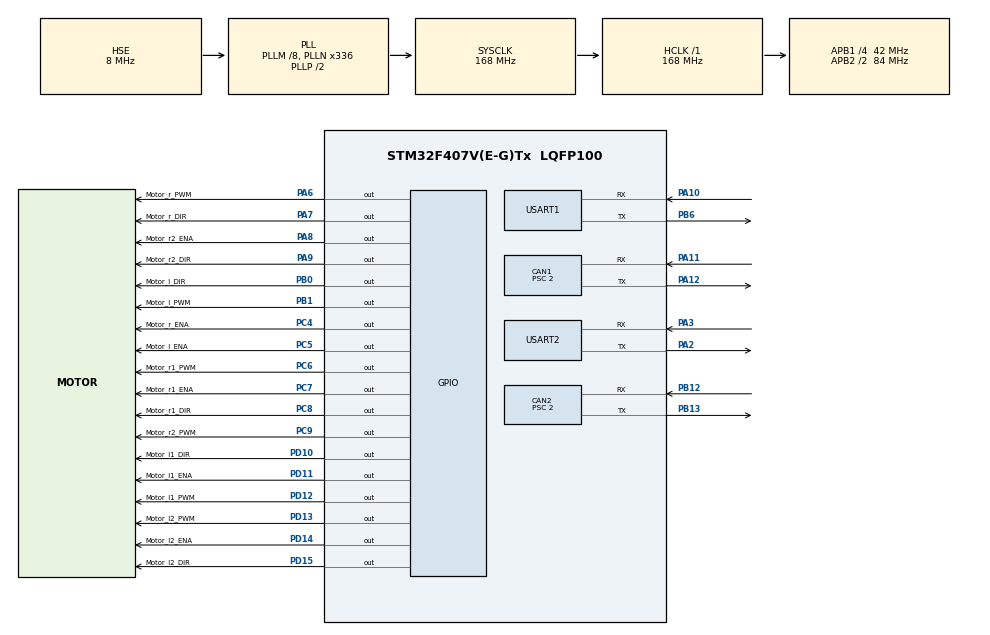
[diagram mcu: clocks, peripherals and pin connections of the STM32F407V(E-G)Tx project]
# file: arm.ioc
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CAN1.BS1=CAN_BS1_12TQ
CAN1.BS2=CAN_BS2_8TQ
CAN1.CalculateBaudRate=1000000
CAN1.CalculateTimeBit=1000
CAN1.CalculateTimeQuantum=47.61904761904762
CAN1.Prescaler=2
CAN2.BS1=CAN_BS1_12TQ
CAN2.BS2=CAN_BS2_8TQ
CAN2.CalculateBaudRate=1000000
CAN2.CalculateTimeBit=1000
CAN2.CalculateTimeQuantum=47.61904761904762
CAN2.Prescaler=2
Mcu.Family=STM32F4
Mcu.Name=STM32F407V(E-G)Tx
Mcu.Package=LQFP100
NVIC.CAN2_RX0_IRQn=true\:0\:0\:false\:false\:true\:true\:true\:true
NVIC.CAN2_RX1_IRQn=true\:0\:0\:false\:false\:true\:true\:true\:true
NVIC.CAN2_TX_IRQn=true\:0\:0\:false\:false\:true\:true\:true\:true
NVIC.PriorityGroup=NVIC_PRIORITYGROUP_4
NVIC.TIM1_UP_TIM10_IRQn=true\:0\:0\:false\:false\:true\:true\:true\:true
NVIC.TIM8_UP_TIM13_IRQn=true\:0\:0\:false\:false\:true\:true\:true\:true
NVIC.USART1_IRQn=true\:0\:0\:false\:false\:true\:true\:true\:true
NVIC.USART2_IRQn=true\:0\:0\:false\:false\:true\:true\:true\:true
PA10.Mode=Asynchronous
PA10.Signal=USART1_RX
PA11.Mode=CAN_Activate
PA11.Signal=CAN1_RX
PA12.Mode=CAN_Activate
PA12.Signal=CAN1_TX
PA13.Mode=Serial_Wire
PA13.Signal=SYS_JTMS-SWDIO
PA14.Mode=Serial_Wire
PA14.Signal=SYS_JTCK-SWCLK
PA2.Mode=Asynchronous
PA2.Signal=USART2_TX
PA3.Mode=Asynchronous
PA3.Signal=USART2_RX
PA6.GPIO_Label=Motor_r_PWM
PA6.Signal=GPIO_Output
PA7.GPIO_Label=Motor_r_DIR
PA7.GPIO_PuPd=GPIO_NOPULL
PA7.Signal=GPIO_Output
PA8.GPIO_Label=Motor_r2_ENA
PA8.Signal=GPIO_Output
PA9.GPIO_Label=Motor_r2_DIR
PA9.Signal=GPIO_Output
PB0.GPIO_Label=Motor_l_DIR
PB0.Signal=GPIO_Output
PB1.GPIO_Label=Motor_l_PWM
PB1.Signal=GPIO_Output
PB12.Mode=CAN_Activate
PB12.Signal=CAN2_RX
PB13.Mode=CAN_Activate
PB13.Signal=CAN2_TX
PB6.Mode=Asynchronous
PB6.Signal=USART1_TX
PC14-OSC32_IN.Mode=LSE-External-Oscillator
PC14-OSC32_IN.Signal=RCC_OSC32_IN
PC15-OSC32_OUT.Mode=LSE-External-Oscillator
PC15-OSC32_OUT.Signal=RCC_OSC32_OUT
PC4.GPIO_Label=Motor_r_ENA
PC4.Signal=GPIO_Output
PC5.GPIO_Label=Motor_l_ENA
PC5.Signal=GPIO_Output
PC6.GPIO_Label=Motor_r1_PWM
PC6.Signal=GPIO_Output
PC7.GPIO_Label=Motor_r1_ENA
PC7.Signal=GPIO_Output
PC8.GPIO_Label=Motor_r1_DIR
PC8.Signal=GPIO_Output
PC9.GPIO_Label=Motor_r2_PWM
PC9.Signal=GPIO_Output
PD10.GPIO_Label=Motor_l1_DIR
PD10.Signal=GPIO_Output
PD11.GPIO_Label=Motor_l1_ENA
PD11.Signal=GPIO_Output
PD12.GPIO_Label=Motor_l1_PWM
PD12.Signal=GPIO_Output
PD13.GPIO_Label=Motor_l2_PWM
PD13.Signal=GPIO_Output
PD14.GPIO_Label=Motor_l2_ENA
PD14.Signal=GPIO_Output
PD15.GPIO_Label=Motor_l2_DIR
PD15.Signal=GPIO_Output
PH0-OSC_IN.Mode=HSE-External-Oscillator
PH0-OSC_IN.Signal=RCC_OSC_IN
PH1-OSC_OUT.Mode=HSE-External-Oscillator
PH1-OSC_OUT.Signal=RCC_OSC_OUT
ProjectManager.HeapSize=0x200
ProjectManager.StackSize=0x400
ProjectManager.TargetToolchain=MDK-ARM V5.32
RCC.48MHZClocksFreq_Value=84000000
RCC.AHBFreq_Value=168000000
RCC.APB1CLKDivider=RCC_HCLK_DIV4
RCC.APB1Freq_Value=42000000
RCC.APB1TimFreq_Value=84000000
RCC.APB2CLKDivider=RCC_HCLK_DIV2
RCC.APB2Freq_Value=84000000
RCC.APB2TimFreq_Value=168000000
RCC.CortexFreq_Value=168000000
RCC.HCLKFreq_Value=168000000
RCC.HSE_VALUE=8000000
RCC.HSI_VALUE=16000000
RCC.PLLM=8
RCC.PLLN=336
RCC.PLLSourceVirtual=RCC_PLLSOURCE_HSE
RCC.SYSCLKFreq_VALUE=168000000
RCC.SYSCLKSource=RCC_SYSCLKSOURCE_PLLCLK
RCC.VCOOutputFreq_Value=336000000
TIM1.Period=10000-1
TIM1.Prescaler=168-1
TIM8.Period=100-1
TIM8.Prescaler=168-1
USART1.VirtualMode=VM_ASYNC
USART2.VirtualMode=VM_ASYNC
VP_TIM1_VS_ClockSourceINT.Mode=Internal
VP_TIM8_VS_ClockSourceINT.Mode=Internal
board=custom

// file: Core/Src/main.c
/* USER CODE BEGIN Header */
/**
  ******************************************************************************
  * @file           : main.c
  * @brief          : Main program body
  ******************************************************************************
  * @attention
  *
  * Copyright (c) 2024 STMicroelectronics.
  * All rights reserved.
  *
  * This software is licensed under terms that can be found in the LICENSE file
  * in the root directory of this software component.
  * If no LICENSE file comes with this software, it is provided AS-IS.
  *
  ******************************************************************************
  */
/* USER CODE END Header */
#include "main.h"
#include "can.h"
#include "tim.h"
#include "usart.h"
#include "gpio.h"

/* USER CODE BEGIN Includes */
#include <stdio.h>
#include "string.h"
#include "canFunc.h"
#include "control.h"
/* USER CODE END Includes */

void SystemClock_Config(void);

int main(void)
{

  /* MCU Configuration--------------------------------------------------------*/

  /* Reset of all peripherals, Initializes the Flash interface and the Systick. */
  HAL_Init();

  /* Configure the system clock */
  SystemClock_Config();

  /* Initialize all configured peripherals */
  MX_GPIO_Init();
  MX_TIM8_Init();
  MX_USART1_UART_Init();
  MX_USART2_UART_Init();
  MX_CAN1_Init();
  MX_TIM1_Init();
  MX_CAN2_Init();
  /* USER CODE BEGIN 2 */
//		CAN1_Mode_Init(1,7,6,6,0);

HAL_StatusTypeDef temp1 = HAL_CAN_Start(&hcan1);
	HAL_StatusTypeDef temp2 = HAL_CAN_Start(&hcan2);

	int16_t speed_l = 10000;
	int16_t speed_r = 10000;

//	Motor_test();

	//YT: set motor to be in velocity mode
	Motor_Set_To_Vel_Mode();

	HAL_TIM_Base_Start_IT(&htim1);
	HAL_TIM_Base_Start_IT(&htim8);

  /* USER CODE END 2 */

  /* Infinite loop */
  while (1)
  {

    /* USER CODE BEGIN 3 */

			//Motor_test();
		 HAL_Delay(2);

				Motor_Drive(latest_command.vel_l, latest_command.vel_r);
  }
  /* USER CODE END 3 */
}

void SystemClock_Config(void)
{
  RCC_OscInitTypeDef RCC_OscInitStruct = {0};
  RCC_ClkInitTypeDef RCC_ClkInitStruct = {0};

  /** Configure the main internal regulator output voltage
  */
  __HAL_RCC_PWR_CLK_ENABLE();
  __HAL_PWR_VOLTAGESCALING_CONFIG(PWR_REGULATOR_VOLTAGE_SCALE1);

  /** Initializes the RCC Oscillators according to the specified parameters
  * in the RCC_OscInitTypeDef structure.
  */
  RCC_OscInitStruct.OscillatorType = RCC_OSCILLATORTYPE_HSE;
  RCC_OscInitStruct.HSEState = RCC_HSE_ON;
  RCC_OscInitStruct.PLL.PLLState = RCC_PLL_ON;
  RCC_OscInitStruct.PLL.PLLSource = RCC_PLLSOURCE_HSE;
  RCC_OscInitStruct.PLL.PLLM = 8;
  RCC_OscInitStruct.PLL.PLLN = 336;
  RCC_OscInitStruct.PLL.PLLP = RCC_PLLP_DIV2;
  RCC_OscInitStruct.PLL.PLLQ = 4;
  if (HAL_RCC_OscConfig(&RCC_OscInitStruct) != HAL_OK)
  {
    Error_Handler();
  }

  /** Initializes the CPU, AHB and APB buses clocks
  */
  RCC_ClkInitStruct.ClockType = RCC_CLOCKTYPE_HCLK|RCC_CLOCKTYPE_SYSCLK
                              |RCC_CLOCKTYPE_PCLK1|RCC_CLOCKTYPE_PCLK2;
  RCC_ClkInitStruct.SYSCLKSource = RCC_SYSCLKSOURCE_PLLCLK;
  RCC_ClkInitStruct.AHBCLKDivider = RCC_SYSCLK_DIV1;
  RCC_ClkInitStruct.APB1CLKDivider = RCC_HCLK_DIV4;
  RCC_ClkInitStruct.APB2CLKDivider = RCC_HCLK_DIV2;

  if (HAL_RCC_ClockConfig(&RCC_ClkInitStruct, FLASH_LATENCY_5) != HAL_OK)
  {
    Error_Handler();
  }
}

/* USER CODE BEGIN 4 */
int fputc(int ch, FILE *f)
{
  uint8_t tmp[1]={0};
	tmp[0] = (uint8_t)ch;
	HAL_UART_Transmit(&huart1,tmp,1,10);
	return ch;
}
/* USER CODE END 4 */

void Error_Handler(void)
{
  __disable_irq();
  while (1)
  {
  }
}
